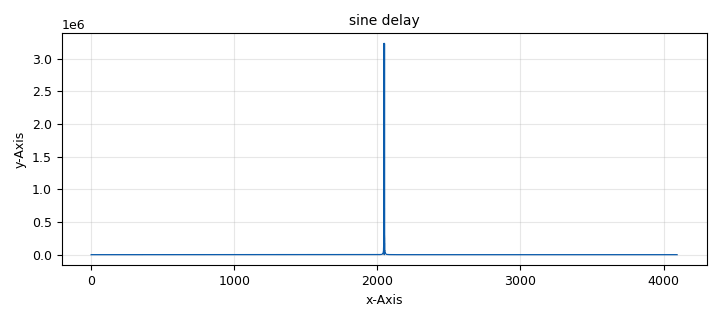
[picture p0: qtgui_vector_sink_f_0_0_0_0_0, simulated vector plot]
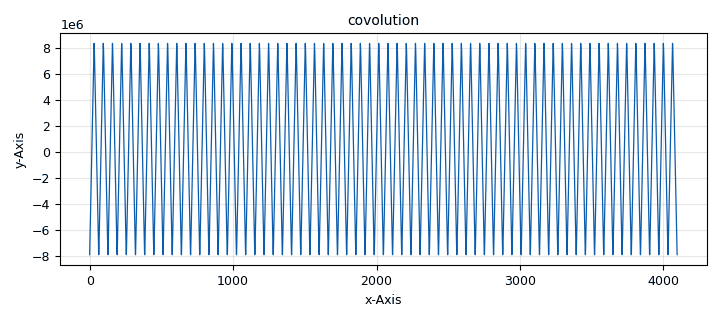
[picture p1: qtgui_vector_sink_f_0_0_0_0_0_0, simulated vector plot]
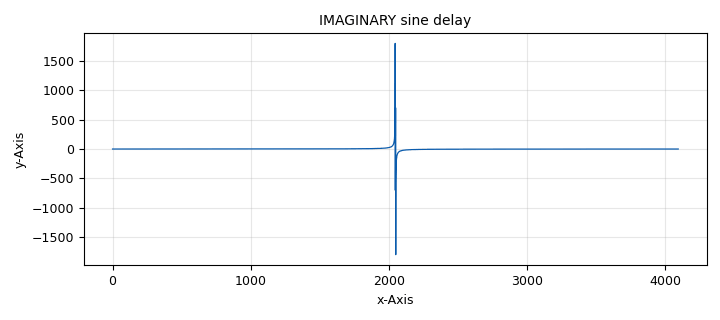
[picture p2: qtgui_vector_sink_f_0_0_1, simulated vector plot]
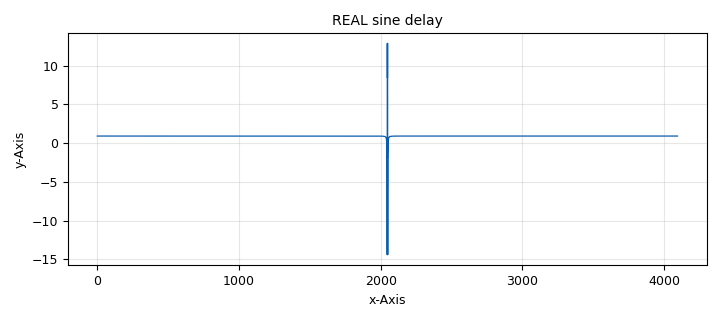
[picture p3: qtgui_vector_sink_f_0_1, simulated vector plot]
<?xml version='1.0' encoding='utf-8'?>
<?grc format='1' created='3.7.10'?>
<flow_graph>
<block>
<key>options</key>
<param><key>id</key><value>top_block</value></param>
<param><key>generate_options</key><value>qt_gui</value></param>
</block>
<block>
<key>variable</key>
<param><key>id</key><value>fftsize</value></param>
<param><key>value</key><value>1024*4</value></param>
</block>
<block>
<key>variable</key>
<param><key>id</key><value>samp_rate</value></param>
<param><key>value</key><value>32000</value></param>
</block>
<block>
<key>analog_const_source_x</key>
<param><key>id</key><value>analog_const_source_x_0</value></param>
<param><key>const</key><value>1</value></param>
<param><key>type</key><value>complex</value></param>
</block>
<block>
<key>analog_sig_source_x</key>
<param><key>id</key><value>analog_sig_source_x_0</value></param>
<param><key>amp</key><value>1</value></param>
<param><key>freq</key><value>100*fftsize/32000.0</value></param>
<param><key>offset</key><value>0</value></param>
<param><key>type</key><value>float</value></param>
<param><key>samp_rate</key><value>samp_rate</value></param>
<param><key>waveform</key><value>analog.GR_SIN_WAVE</value></param>
</block>
<block>
<key>analog_sig_source_x</key>
<param><key>id</key><value>analog_sig_source_x_0_0</value></param>
<param><key>amp</key><value>1</value></param>
<param><key>freq</key><value>500</value></param>
<param><key>offset</key><value>0</value></param>
<param><key>type</key><value>complex</value></param>
<param><key>samp_rate</key><value>samp_rate</value></param>
<param><key>waveform</key><value>analog.GR_SQR_WAVE</value></param>
</block>
<block>
<key>blocks_complex_to_imag</key>
<param><key>id</key><value>blocks_complex_to_imag_0</value></param>
<param><key>vlen</key><value>fftsize</value></param>
</block>
<block>
<key>blocks_complex_to_imag</key>
<param><key>id</key><value>blocks_complex_to_imag_0_0</value></param>
<param><key>vlen</key><value>fftsize</value></param>
</block>
<block>
<key>blocks_complex_to_real</key>
<param><key>id</key><value>blocks_complex_to_real_0</value></param>
<param><key>vlen</key><value>fftsize</value></param>
</block>
<block>
<key>blocks_complex_to_real</key>
<param><key>id</key><value>blocks_complex_to_real_0_0</value></param>
<param><key>vlen</key><value>fftsize</value></param>
</block>
<block>
<key>blocks_complex_to_real</key>
<param><key>id</key><value>blocks_complex_to_real_0_0_0</value></param>
<param><key>vlen</key><value>fftsize</value></param>
</block>
<block>
<key>blocks_complex_to_real</key>
<param><key>id</key><value>blocks_complex_to_real_0_0_0_0</value></param>
<param><key>vlen</key><value>fftsize</value></param>
</block>
<block>
<key>blocks_complex_to_real</key>
<param><key>id</key><value>blocks_complex_to_real_0_0_0_0_0</value></param>
<param><key>vlen</key><value>fftsize</value></param>
</block>
<block>
<key>blocks_complex_to_real</key>
<param><key>id</key><value>blocks_complex_to_real_0_1</value></param>
<param><key>vlen</key><value>fftsize</value></param>
</block>
<block>
<key>blocks_delay</key>
<param><key>id</key><value>blocks_delay_0</value></param>
<param><key>delay</key><value>100</value></param>
<param><key>type</key><value>float</value></param>
</block>
<block>
<key>blocks_delay</key>
<param><key>id</key><value>blocks_delay_0_0</value></param>
<param><key>delay</key><value>1</value></param>
<param><key>_enabled</key><value>2</value></param>
<param><key>type</key><value>complex</value></param>
<param><key>vlen</key><value>fftsize</value></param>
</block>
<block>
<key>blocks_multiply_conjugate_cc</key>
<param><key>id</key><value>blocks_multiply_conjugate_cc_0</value></param>
<param><key>vlen</key><value>fftsize</value></param>
</block>
<block>
<key>blocks_multiply_conjugate_cc</key>
<param><key>id</key><value>blocks_multiply_conjugate_cc_0_0</value></param>
<param><key>vlen</key><value>fftsize</value></param>
</block>
<block>
<key>blocks_multiply_conjugate_cc</key>
<param><key>id</key><value>blocks_multiply_conjugate_cc_0_0_0</value></param>
<param><key>vlen</key><value>fftsize</value></param>
</block>
<block>
<key>blocks_multiply_xx</key>
<param><key>id</key><value>blocks_multiply_xx_0</value></param>
<param><key>type</key><value>complex</value></param>
<param><key>vlen</key><value>fftsize</value></param>
</block>
<block>
<key>blocks_stream_to_vector</key>
<param><key>id</key><value>blocks_stream_to_vector_0</value></param>
<param><key>type</key><value>complex</value></param>
<param><key>num_items</key><value>fftsize</value></param>
</block>
<block>
<key>blocks_stream_to_vector</key>
<param><key>id</key><value>blocks_stream_to_vector_0_0</value></param>
<param><key>type</key><value>float</value></param>
<param><key>num_items</key><value>fftsize</value></param>
</block>
<block>
<key>blocks_stream_to_vector</key>
<param><key>id</key><value>blocks_stream_to_vector_0_0_0</value></param>
<param><key>type</key><value>complex</value></param>
<param><key>num_items</key><value>fftsize</value></param>
</block>
<block>
<key>fft_vxx</key>
<param><key>id</key><value>fft_vxx_0</value></param>
<param><key>fft_size</key><value>fftsize</value></param>
<param><key>forward</key><value>True</value></param>
<param><key>type</key><value>complex</value></param>
<param><key>nthreads</key><value>3</value></param>
<param><key>shift</key><value>True</value></param>
<param><key>window</key><value>window.rectangular(fftsize)</value></param>
</block>
<block>
<key>fft_vxx</key>
<param><key>id</key><value>fft_vxx_0_0</value></param>
<param><key>fft_size</key><value>fftsize</value></param>
<param><key>forward</key><value>True</value></param>
<param><key>type</key><value>complex</value></param>
<param><key>nthreads</key><value>3</value></param>
<param><key>shift</key><value>True</value></param>
<param><key>window</key><value>window.rectangular(fftsize)</value></param>
</block>
<block>
<key>fft_vxx</key>
<param><key>id</key><value>fft_vxx_0_0_0</value></param>
<param><key>fft_size</key><value>fftsize</value></param>
<param><key>forward</key><value>True</value></param>
<param><key>type</key><value>complex</value></param>
<param><key>nthreads</key><value>3</value></param>
<param><key>shift</key><value>True</value></param>
<param><key>window</key><value>window.rectangular(fftsize)</value></param>
</block>
<block>
<key>fft_vxx</key>
<param><key>id</key><value>fft_vxx_0_0_0_0</value></param>
<param><key>fft_size</key><value>fftsize</value></param>
<param><key>forward</key><value>False</value></param>
<param><key>type</key><value>complex</value></param>
<param><key>nthreads</key><value>3</value></param>
<param><key>shift</key><value>True</value></param>
<param><key>window</key><value>window.rectangular(fftsize)</value></param>
</block>
<block>
<key>fft_vxx</key>
<param><key>id</key><value>fft_vxx_0_0_1</value></param>
<param><key>fft_size</key><value>fftsize</value></param>
<param><key>forward</key><value>True</value></param>
<param><key>type</key><value>float</value></param>
<param><key>nthreads</key><value>3</value></param>
<param><key>shift</key><value>True</value></param>
<param><key>window</key><value>window.rectangular(fftsize)</value></param>
</block>
<block>
<key>qtgui_vector_sink_f</key>
<param><key>id</key><value>qtgui_vector_sink_f_0</value></param>
<param><key>autoscale</key><value>True</value></param>
<param><key>name</key><value>"REAL"</value></param>
<param><key>showports</key><value>True</value></param>
<param><key>vlen</key><value>fftsize</value></param>
<param><key>x_start</key><value>0</value></param>
<param><key>x_step</key><value>1.0</value></param>
</block>
<block>
<key>qtgui_vector_sink_f</key>
<param><key>id</key><value>qtgui_vector_sink_f_0_0</value></param>
<param><key>autoscale</key><value>True</value></param>
<param><key>name</key><value>"IMAGINAR"</value></param>
<param><key>showports</key><value>True</value></param>
<param><key>vlen</key><value>fftsize</value></param>
<param><key>x_start</key><value>0</value></param>
<param><key>x_step</key><value>1.0</value></param>
</block>
<block>
<key>qtgui_vector_sink_f</key>
<param><key>id</key><value>qtgui_vector_sink_f_0_0_0</value></param>
<param><key>autoscale</key><value>True</value></param>
<param><key>name</key><value>"IMAGINAR"</value></param>
<param><key>showports</key><value>True</value></param>
<param><key>vlen</key><value>fftsize</value></param>
<param><key>x_start</key><value>0</value></param>
<param><key>x_step</key><value>1.0</value></param>
</block>
<block>
<key>qtgui_vector_sink_f</key>
<param><key>id</key><value>qtgui_vector_sink_f_0_0_0_0</value></param>
<param><key>autoscale</key><value>True</value></param>
<param><key>grid</key><value>True</value></param>
<param><key>name</key><value>"IMAGINAR"</value></param>
<param><key>showports</key><value>True</value></param>
<param><key>vlen</key><value>fftsize</value></param>
<param><key>x_start</key><value>0</value></param>
<param><key>x_step</key><value>1.0</value></param>
</block>
<block>
<key>qtgui_vector_sink_f</key>
<param><key>id</key><value>qtgui_vector_sink_f_0_0_0_0_0</value></param>
<param><key>autoscale</key><value>True</value></param>
<param><key>grid</key><value>True</value></param>
<param><key>name</key><value>"sine delay"</value></param>
<param><key>showports</key><value>True</value></param>
<param><key>vlen</key><value>fftsize</value></param>
<param><key>x_start</key><value>0</value></param>
<param><key>x_step</key><value>1.0</value></param>
</block>
<block>
<key>qtgui_vector_sink_f</key>
<param><key>id</key><value>qtgui_vector_sink_f_0_0_0_0_0_0</value></param>
<param><key>autoscale</key><value>True</value></param>
<param><key>grid</key><value>True</value></param>
<param><key>name</key><value>"covolution"</value></param>
<param><key>showports</key><value>True</value></param>
<param><key>vlen</key><value>fftsize</value></param>
<param><key>x_start</key><value>0</value></param>
<param><key>x_step</key><value>1.0</value></param>
</block>
<block>
<key>qtgui_vector_sink_f</key>
<param><key>id</key><value>qtgui_vector_sink_f_0_0_1</value></param>
<param><key>autoscale</key><value>True</value></param>
<param><key>name</key><value>"IMAGINARY sine delay"</value></param>
<param><key>showports</key><value>True</value></param>
<param><key>vlen</key><value>fftsize</value></param>
<param><key>x_start</key><value>0</value></param>
<param><key>x_step</key><value>1.0</value></param>
</block>
<block>
<key>qtgui_vector_sink_f</key>
<param><key>id</key><value>qtgui_vector_sink_f_0_1</value></param>
<param><key>autoscale</key><value>True</value></param>
<param><key>name</key><value>"REAL sine delay"</value></param>
<param><key>showports</key><value>True</value></param>
<param><key>vlen</key><value>fftsize</value></param>
<param><key>x_start</key><value>0</value></param>
<param><key>x_step</key><value>1.0</value></param>
</block>
<connection><source_block_id>analog_const_source_x_0</source_block_id><sink_block_id>blocks_stream_to_vector_0</sink_block_id><source_key>0</source_key><sink_key>0</sink_key></connection>
<connection><source_block_id>analog_sig_source_x_0</source_block_id><sink_block_id>blocks_delay_0</sink_block_id><source_key>0</source_key><sink_key>0</sink_key></connection>
<connection><source_block_id>analog_sig_source_x_0_0</source_block_id><sink_block_id>blocks_stream_to_vector_0_0_0</sink_block_id><source_key>0</source_key><sink_key>0</sink_key></connection>
<connection><source_block_id>blocks_complex_to_imag_0</source_block_id><sink_block_id>qtgui_vector_sink_f_0_0</sink_block_id><source_key>0</source_key><sink_key>0</sink_key></connection>
<connection><source_block_id>blocks_complex_to_imag_0_0</source_block_id><sink_block_id>qtgui_vector_sink_f_0_0_1</sink_block_id><source_key>0</source_key><sink_key>0</sink_key></connection>
<connection><source_block_id>blocks_complex_to_real_0</source_block_id><sink_block_id>qtgui_vector_sink_f_0</sink_block_id><source_key>0</source_key><sink_key>0</sink_key></connection>
<connection><source_block_id>blocks_complex_to_real_0_0</source_block_id><sink_block_id>qtgui_vector_sink_f_0_0_0</sink_block_id><source_key>0</source_key><sink_key>0</sink_key></connection>
<connection><source_block_id>blocks_complex_to_real_0_0_0</source_block_id><sink_block_id>qtgui_vector_sink_f_0_0_0_0</sink_block_id><source_key>0</source_key><sink_key>0</sink_key></connection>
<connection><source_block_id>blocks_complex_to_real_0_0_0_0</source_block_id><sink_block_id>qtgui_vector_sink_f_0_0_0_0_0</sink_block_id><source_key>0</source_key><sink_key>0</sink_key></connection>
<connection><source_block_id>blocks_complex_to_real_0_0_0_0_0</source_block_id><sink_block_id>qtgui_vector_sink_f_0_0_0_0_0_0</sink_block_id><source_key>0</source_key><sink_key>0</sink_key></connection>
<connection><source_block_id>blocks_complex_to_real_0_1</source_block_id><sink_block_id>qtgui_vector_sink_f_0_1</sink_block_id><source_key>0</source_key><sink_key>0</sink_key></connection>
<connection><source_block_id>blocks_delay_0</source_block_id><sink_block_id>blocks_stream_to_vector_0_0</sink_block_id><source_key>0</source_key><sink_key>0</sink_key></connection>
<connection><source_block_id>blocks_delay_0_0</source_block_id><sink_block_id>fft_vxx_0_0_0</sink_block_id><source_key>0</source_key><sink_key>0</sink_key></connection>
<connection><source_block_id>blocks_multiply_conjugate_cc_0</source_block_id><sink_block_id>blocks_complex_to_real_0_0</sink_block_id><source_key>0</source_key><sink_key>0</sink_key></connection>
<connection><source_block_id>blocks_multiply_conjugate_cc_0_0</source_block_id><sink_block_id>blocks_complex_to_real_0_0_0</sink_block_id><source_key>0</source_key><sink_key>0</sink_key></connection>
<connection><source_block_id>blocks_multiply_conjugate_cc_0_0_0</source_block_id><sink_block_id>blocks_complex_to_real_0_0_0_0</sink_block_id><source_key>0</source_key><sink_key>0</sink_key></connection>
<connection><source_block_id>blocks_multiply_xx_0</source_block_id><sink_block_id>fft_vxx_0_0_0_0</sink_block_id><source_key>0</source_key><sink_key>0</sink_key></connection>
<connection><source_block_id>blocks_stream_to_vector_0</source_block_id><sink_block_id>fft_vxx_0</sink_block_id><source_key>0</source_key><sink_key>0</sink_key></connection>
<connection><source_block_id>blocks_stream_to_vector_0_0</source_block_id><sink_block_id>fft_vxx_0_0_1</sink_block_id><source_key>0</source_key><sink_key>0</sink_key></connection>
<connection><source_block_id>blocks_stream_to_vector_0_0_0</source_block_id><sink_block_id>blocks_delay_0_0</sink_block_id><source_key>0</source_key><sink_key>0</sink_key></connection>
<connection><source_block_id>fft_vxx_0</source_block_id><sink_block_id>blocks_complex_to_imag_0</sink_block_id><source_key>0</source_key><sink_key>0</sink_key></connection>
<connection><source_block_id>fft_vxx_0</source_block_id><sink_block_id>blocks_complex_to_real_0</sink_block_id><source_key>0</source_key><sink_key>0</sink_key></connection>
<connection><source_block_id>fft_vxx_0</source_block_id><sink_block_id>blocks_multiply_conjugate_cc_0</sink_block_id><source_key>0</source_key><sink_key>0</sink_key></connection>
<connection><source_block_id>fft_vxx_0</source_block_id><sink_block_id>blocks_multiply_conjugate_cc_0</sink_block_id><source_key>0</source_key><sink_key>1</sink_key></connection>
<connection><source_block_id>fft_vxx_0</source_block_id><sink_block_id>fft_vxx_0_0</sink_block_id><source_key>0</source_key><sink_key>0</sink_key></connection>
<connection><source_block_id>fft_vxx_0_0</source_block_id><sink_block_id>blocks_multiply_conjugate_cc_0_0</sink_block_id><source_key>0</source_key><sink_key>0</sink_key></connection>
<connection><source_block_id>fft_vxx_0_0</source_block_id><sink_block_id>blocks_multiply_conjugate_cc_0_0</sink_block_id><source_key>0</source_key><sink_key>1</sink_key></connection>
<connection><source_block_id>fft_vxx_0_0_0</source_block_id><sink_block_id>blocks_multiply_xx_0</sink_block_id><source_key>0</source_key><sink_key>0</sink_key></connection>
<connection><source_block_id>fft_vxx_0_0_0</source_block_id><sink_block_id>blocks_multiply_xx_0</sink_block_id><source_key>0</source_key><sink_key>1</sink_key></connection>
<connection><source_block_id>fft_vxx_0_0_0_0</source_block_id><sink_block_id>blocks_complex_to_real_0_0_0_0_0</sink_block_id><source_key>0</source_key><sink_key>0</sink_key></connection>
<connection><source_block_id>fft_vxx_0_0_1</source_block_id><sink_block_id>blocks_complex_to_imag_0_0</sink_block_id><source_key>0</source_key><sink_key>0</sink_key></connection>
<connection><source_block_id>fft_vxx_0_0_1</source_block_id><sink_block_id>blocks_complex_to_real_0_1</sink_block_id><source_key>0</source_key><sink_key>0</sink_key></connection>
<connection><source_block_id>fft_vxx_0_0_1</source_block_id><sink_block_id>blocks_multiply_conjugate_cc_0_0_0</sink_block_id><source_key>0</source_key><sink_key>0</sink_key></connection>
<connection><source_block_id>fft_vxx_0_0_1</source_block_id><sink_block_id>blocks_multiply_conjugate_cc_0_0_0</sink_block_id><source_key>0</source_key><sink_key>1</sink_key></connection>
</flow_graph>
